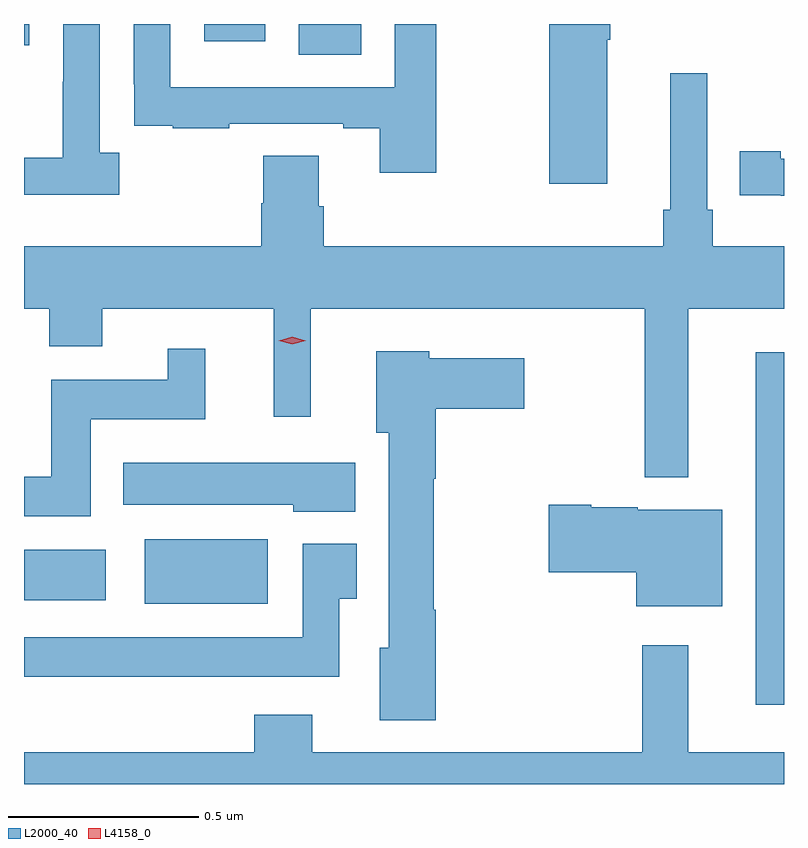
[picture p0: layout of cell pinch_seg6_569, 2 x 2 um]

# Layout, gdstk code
import gdstk
lib = gdstk.Library(unit=1e-6, precision=1e-09)
def R(c, l, rs):  # rectangles x0, y0, x1, y1
    for r in rs: c.add(gdstk.rectangle(r[:2], r[2:], *l))
def P(c, l, *ps):  # polygons
    for p in ps: c.add(gdstk.Polygon(p, *l))
L2000_40 = (2000, 40)
L4158_0 = (4158, 0)

pinch_seg6_569 = lib.new_cell('pinch_seg6_569')
R(pinch_seg6_569, L2000_40, [(567.719,982.257,567.793,983.185), (566.111,982.523,566.434,982.693), (565.793,982.532,566.008,982.666), (566.516,983.968,566.68,984.049), (565.793,983.993,565.807,984.049), (566.267,984.003,566.428,984.049)])
P(pinch_seg6_569, L2000_40, [(567.328,984.007),(567.336,984.007),(567.336,984.049),(567.175,984.049),(567.175,983.628),(567.328,983.628)],
  [(566.878,984.049),(566.769,984.049),(566.769,983.883),(566.178,983.883),(566.178,984.049),(566.082,984.049),(566.082,983.89),(566.083,983.89),(566.083,983.781),(566.185,983.781),(566.185,983.775),(566.333,983.775),(566.333,983.787),(566.633,983.787),(566.633,983.775),(566.729,983.775),(566.729,983.658),(566.878,983.658)],
  [(566.044,983.71),(565.992,983.71),(565.992,984.049),(565.896,984.049),(565.896,983.897),(565.895,983.897),(565.895,983.697),(565.793,983.697),(565.793,983.6),(566.044,983.6)],
  [(567.541,983.3),(567.793,983.3),(567.793,983.464),(567.605,983.464),(567.605,983.56),(567.591,983.56),(567.591,983.92),(567.494,983.92),(567.494,983.56),(567.475,983.56),(567.475,983.464),(566.582,983.464),(566.582,983.57),(566.569,983.57),(566.569,983.702),(566.422,983.702),(566.422,983.577),(566.417,983.577),(566.417,983.464),(565.793,983.464),(565.793,983.3),(565.859,983.3),(565.859,983.201),(565.999,983.201),(565.999,983.3),(566.45,983.3),(566.45,983.016),(566.548,983.016),(566.548,983.3),(567.427,983.3),(567.427,982.856),(567.541,982.856)],
  [(567.793,983.694),(567.784,983.694),(567.784,983.714),(567.676,983.714),(567.676,983.598),(567.784,983.598),(567.784,983.597),(567.793,983.597)],
  [(565.969,983.009),(566.27,983.009),(566.27,983.194),(566.171,983.194),(566.171,983.113),(565.865,983.113),(565.865,982.858),(565.793,982.858),(565.793,982.754),(565.969,982.754)],
  [(566.876,982.507),(566.871,982.507),(566.871,982.852),(566.876,982.852),(566.876,983.036),(567.109,983.036),(567.109,983.17),(566.859,983.17),(566.859,983.188),(566.72,983.188),(566.72,982.974),(566.753,982.974),(566.753,982.407),(566.729,982.407),(566.729,982.217),(566.876,982.217)],
  [(566.665,982.894),(566.054,982.894),(566.054,982.784),(566.502,982.784),(566.502,982.766),(566.665,982.766)],
  [(567.631,982.771),(567.408,982.771),(567.408,982.777),(567.286,982.777),(567.286,982.784),(567.174,982.784),(567.174,982.606),(567.404,982.606),(567.404,982.517),(567.631,982.517)],
  [(566.623,982.537),(566.668,982.537),(566.668,982.681),(566.526,982.681),(566.526,982.435),(565.793,982.435),(565.793,982.331),(566.623,982.331)],
  [(567.793,982.132),(567.541,982.132),(567.541,982.414),(567.42,982.414),(567.42,982.132),(566.551,982.132),(566.551,982.231),(566.399,982.231),(566.399,982.132),(565.793,982.132),(565.793,982.049),(567.793,982.049)])
P(pinch_seg6_569, L4158_0, [(566.499,983.206),(566.464,983.216),(566.464,983.216),(566.464,983.216),(566.499,983.226),(566.534,983.216),(566.534,983.216),(566.534,983.216)])

lib.write_gds('pinch_seg6_569.gds')
